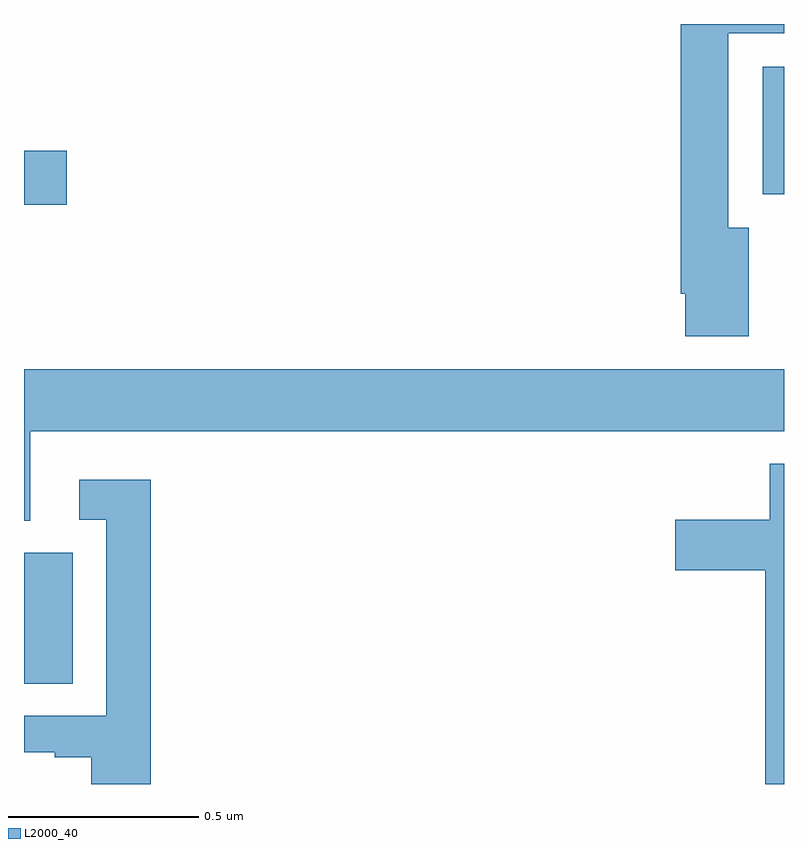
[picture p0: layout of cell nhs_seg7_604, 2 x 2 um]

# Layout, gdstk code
import gdstk
lib = gdstk.Library(unit=1e-6, precision=1e-09)
def R(c, l, rs):  # rectangles x0, y0, x1, y1
    for r in rs: c.add(gdstk.rectangle(r[:2], r[2:], *l))
def P(c, l, *ps):  # polygons
    for p in ps: c.add(gdstk.Polygon(p, *l))
L2000_40 = (2000, 40)

nhs_seg7_604 = lib.new_cell('nhs_seg7_604')
R(nhs_seg7_604, L2000_40, [(119,1021.264,119.128,1021.608), (119,1022.524,119.113,1022.666), (120.944,1022.552,121,1022.887)])
P(nhs_seg7_604, L2000_40, [(120.907,1022.464),(120.853,1022.464),(120.853,1022.976),(121,1022.976),(121,1023),(120.728,1023),(120.728,1022.29),(120.74,1022.29),(120.74,1022.178),(120.907,1022.178)],
  [(119.017,1021.928),(121,1021.928),(121,1022.092),(119,1022.092),(119,1021.693),(119.017,1021.693)],
  [(121,1021.843),(120.962,1021.843),(120.962,1021.696),(120.714,1021.696),(120.714,1021.562),(120.95,1021.562),(120.95,1021),(121,1021)],
  [(119.333,1021.801),(119.145,1021.801),(119.145,1021.695),(119.217,1021.695),(119.217,1021.179),(119,1021.179),(119,1021.083),(119.081,1021.083),(119.081,1021.071),(119.177,1021.071),(119.177,1021),(119.333,1021)])

lib.write_gds('nhs_seg7_604.gds')
